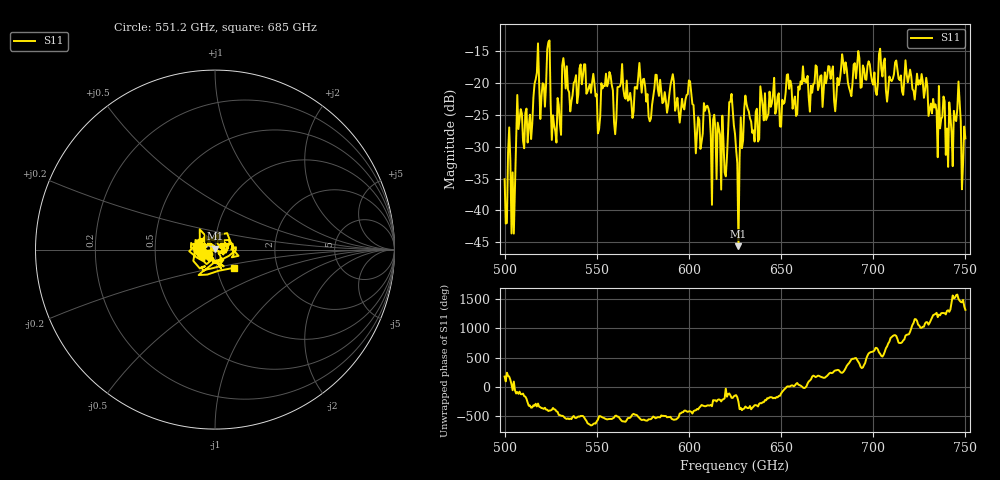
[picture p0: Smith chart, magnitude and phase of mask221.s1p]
!Created with skrf (http://scikit-rf.org).
# GHz S MA R 50.0
!freq magS11 angS11
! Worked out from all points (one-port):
!   401 points, 500 GHz to 750 GHz, reference 50 ohm
!   lowest |S11| = -45.6 dB at 626.9 GHz (marker M1), VSWR 1.01, Z = 49.9 + j0.515 ohm
!   |S11| at or under -10 dB: start of sweep to end of sweep
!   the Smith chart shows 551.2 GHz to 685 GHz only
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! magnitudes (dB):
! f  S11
! 500 GHz  -35.1
! 503.1 GHz  -32.2
! 505 GHz  -43.6
! 507.5 GHz  -27.2
! 513.8 GHz  -25.0
! 517.5 GHz  -18.4
! 520.6 GHz  -20.0
! 523.8 GHz  -13.5
! 526.9 GHz  -26.7
! 531.2 GHz  -17.2
! 542.5 GHz  -18.8
! 550.6 GHz  -27.9
! 562.5 GHz  -20.5
! 593.8 GHz  -22.3
! 600 GHz  -19.6
! 605 GHz  -25.3
! 609.4 GHz  -23.7
! 618.8 GHz  -29.2
! 622.5 GHz  -22.9
! 625 GHz  -28.0
! 626.9 GHz  -45.6
! 631.2 GHz  -23.3
! 656.2 GHz  -24.0
! 687.5 GHz  -21.3
! 718.8 GHz  -19.9
! 741.9 GHz  -25.2
! 746.2 GHz  -19.7
! 750 GHz  -28.7
